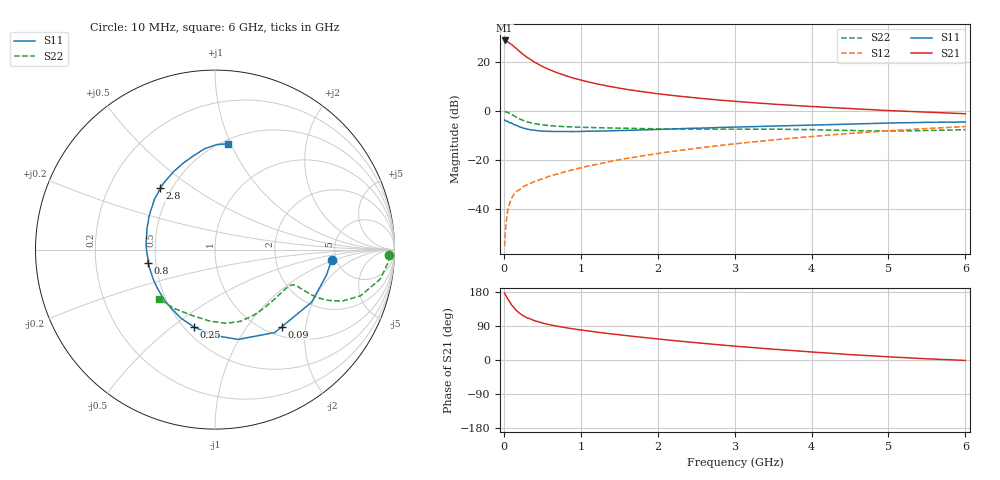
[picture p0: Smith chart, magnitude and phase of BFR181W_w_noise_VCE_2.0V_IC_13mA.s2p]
! Infineon Technologies  Discrete & RF Semiconductors
! BFR181W
! VCE =  2.0 V,  IC =  13 mA
! Common Emitter S-Parameters:  Jan 2017
# GHz  S  MA  R  50
!  f  S11  S21  S12  S22
! GHz  MAG  ANG  MAG  ANG  MAG  ANG  MAG  ANG
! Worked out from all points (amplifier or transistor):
!   77 points, 10 MHz to 6 GHz, reference 50 ohm
!   highest |S21| = 28.9 dB at 10 MHz (marker M1)
!   |S21| within 3 dB of that: start of sweep to 151.1 MHz
!   unconditionally stable (mu >= 1): 622.4 MHz to 2.742 GHz
!   at 130 MHz: K = 0.38, MSG = 30.3 dB, |S12| = -34.2 dB
!   at 2.2 GHz: K = 1.07, MAG = 9.8 dB, |S12| = -16.5 dB
!   at 6 GHz: K = 0.86, MSG = 2.6 dB, |S12| = -6.4 dB
!   lowest NFmin = 1.39 dB at 450 MHz
!   S11 on the Smith chart (normalised r, x): 10 MHz: 4.56, -0.92; 90 MHz: 1.18, -1.49; 250 MHz: 0.56, -0.60; 800 MHz: 0.45, -0.08; 2.8 GHz: 0.43, +0.38; 6 GHz: 0.53, +0.97
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0.01  0.6523 -5.1  27.78 177.0  0.0017 95.1  0.9707 -1.9
0.02  0.637 -13.0  27.41 172.3  0.0033 97.2  0.9703 -3.9
0.05  0.6128 -28.6  26.22 161.5  0.009 78.6  0.9351 -10.1
0.09  0.5688 -48.9  23.54 148.9  0.0148 70.1  0.8665 -16.0
0.1  0.5697 -54.2  23.07 145.4  0.0163 68.9  0.8509 -17.6
0.15  0.5167 -75.5  19.73 133.3  0.0216 63.2  0.7638 -22.1
0.2  0.4765 -91.8  16.78 123.9  0.0243 60.9  0.6934 -24.1
0.25  0.4462 -105.5  14.47 116.9  0.0281 58.3  0.6409 -25.0
0.3  0.4266 -116.7  12.59 111.5  0.0304 58.5  0.5997 -25.1
0.4  0.4018 -132.8  9.972 103.5  0.0359 59.6  0.5489 -24.7
0.5  0.3876 -145.1  8.168 97.7  0.0406 61.1  0.5187 -24.3
0.6  0.3816 -154.2  6.922 92.9  0.0464 63.0  0.4995 -23.9
0.8  0.3801 -168.4  5.298 85.3  0.0572 67.0  0.4768 -24.3
0.9  0.3774 -173.9  4.73 82.2  0.0626 68.0  0.4696 -24.9
1.1  0.3843 177.0  3.924 76.6  0.0747 69.9  0.4594 -26.4
1.5  0.3969 162.8  2.931 66.6  0.0998 71.0  0.4437 -31.3
2.1  0.4225 146.6  2.16 53.5  0.1416 71.1  0.4292 -41.8
2.8  0.4586 131.7  1.673 40.1  0.1952 68.5  0.4245 -56.3
3.1  0.4712 125.9  1.534 35.0  0.2202 66.5  0.4229 -62.5
4.1  0.5181 108.4  1.21 19.8  0.3085 58.7  0.4104 -84.0
5.1  0.5688 94.4  1.004 7.3  0.4004 48.6  0.3885 -112.5
6  0.5939 83.2  0.876 -1.2  0.4797 38.5  0.4151 -138.3
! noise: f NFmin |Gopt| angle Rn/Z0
0.45  1.39  0.08  17  0.21
0.9  1.43  0.08  31  0.21
1.9  1.86  0.09  -144  0.21
2.4  2.07  0.11  -109  0.26
